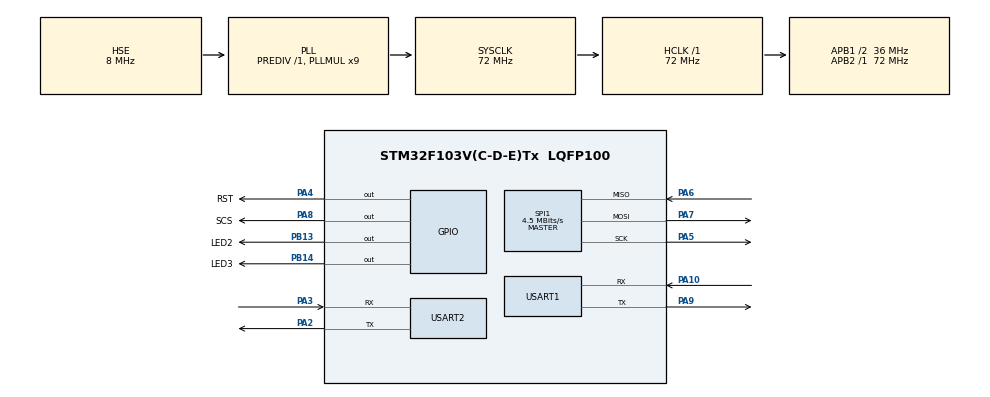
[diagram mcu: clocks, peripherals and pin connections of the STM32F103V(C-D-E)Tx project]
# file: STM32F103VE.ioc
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FREERTOS.Tasks01=defaultTask,0,128,StartDefaultTask,Default,NULL,Dynamic,NULL,NULL;myTaskLed,-3,128,StartTaskLed,Default,NULL,Dynamic,NULL,NULL
Mcu.Family=STM32F1
Mcu.Name=STM32F103V(C-D-E)Tx
Mcu.Package=LQFP100
NVIC.PriorityGroup=NVIC_PRIORITYGROUP_4
NVIC.TIM6_IRQn=true\:5\:0\:false\:false\:true\:true\:true\:true
NVIC.TIM7_IRQn=true\:5\:0\:false\:false\:true\:true\:true\:true
NVIC.USART1_IRQn=true\:5\:0\:false\:false\:true\:true\:true\:true
NVIC.USART2_IRQn=true\:5\:0\:false\:false\:true\:true\:true\:true
OSC_IN.Mode=HSE-External-Oscillator
OSC_IN.Signal=RCC_OSC_IN
OSC_OUT.Mode=HSE-External-Oscillator
OSC_OUT.Signal=RCC_OSC_OUT
PA10.Mode=Asynchronous
PA10.Signal=USART1_RX
PA13.Mode=Serial_Wire
PA13.Signal=SYS_JTMS-SWDIO
PA14.Mode=Serial_Wire
PA14.Signal=SYS_JTCK-SWCLK
PA2.Mode=Asynchronous
PA2.Signal=USART2_TX
PA3.Mode=Asynchronous
PA3.Signal=USART2_RX
PA4.GPIO_Label=RST
PA4.GPIO_PuPd=GPIO_NOPULL
PA4.GPIO_Speed=GPIO_SPEED_FREQ_HIGH
PA4.Signal=GPIO_Output
PA5.Mode=Full_Duplex_Master
PA5.Signal=SPI1_SCK
PA6.Mode=Full_Duplex_Master
PA6.Signal=SPI1_MISO
PA7.Mode=Full_Duplex_Master
PA7.Signal=SPI1_MOSI
PA8.GPIO_Label=SCS
PA8.GPIO_PuPd=GPIO_NOPULL
PA8.GPIO_Speed=GPIO_SPEED_FREQ_HIGH
PA8.Signal=GPIO_Output
PA9.Mode=Asynchronous
PA9.Signal=USART1_TX
PB13.GPIO_Label=LED2
PB13.Signal=GPIO_Output
PB14.GPIO_Label=LED3
PB14.Signal=GPIO_Output
ProjectManager.HeapSize=0x200
ProjectManager.StackSize=0x400
ProjectManager.TargetToolchain=STM32CubeIDE
RCC.AHBFreq_Value=72000000
RCC.APB1CLKDivider=RCC_HCLK_DIV2
RCC.APB1Freq_Value=36000000
RCC.APB1TimFreq_Value=72000000
RCC.APB2Freq_Value=72000000
RCC.APB2TimFreq_Value=72000000
RCC.HCLKFreq_Value=72000000
RCC.PLLMUL=RCC_PLL_MUL9
RCC.PLLSourceVirtual=RCC_PLLSOURCE_HSE
RCC.SYSCLKFreq_VALUE=72000000
RCC.SYSCLKSource=RCC_SYSCLKSOURCE_PLLCLK
RCC.USBFreq_Value=72000000
SPI1.BaudRatePrescaler=SPI_BAUDRATEPRESCALER_16
SPI1.CLKPhase=SPI_PHASE_2EDGE
SPI1.CLKPolarity=SPI_POLARITY_HIGH
SPI1.CRCCalculation=SPI_CRCCALCULATION_DISABLE
SPI1.CalculateBaudRate=4.5 MBits/s
SPI1.DataSize=SPI_DATASIZE_8BIT
SPI1.Direction=SPI_DIRECTION_2LINES
SPI1.FirstBit=SPI_FIRSTBIT_MSB
SPI1.Mode=SPI_MODE_MASTER
SPI1.VirtualType=VM_MASTER
TIM6.Period=1000
TIM6.Prescaler=6400-1
TIM7.Period=1000
TIM7.Prescaler=6400-1
USART1.VirtualMode=VM_ASYNC
USART2.VirtualMode=VM_ASYNC
VP_FREERTOS_VS_CMSIS_V1.Mode=CMSIS_V1
VP_TIM6_VS_ClockSourceINT.Mode=Enable_Timer
VP_TIM7_VS_ClockSourceINT.Mode=Enable_Timer
board=custom

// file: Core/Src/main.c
/* USER CODE BEGIN Header */
/**
  ******************************************************************************
  * @file           : main.c
  * @brief          : Main program body
  ******************************************************************************
  * @attention
  *
  * <h2><center>&copy; Copyright (c) 2020 STMicroelectronics.
  * All rights reserved.</center></h2>
  *
  * This software component is licensed by ST under BSD 3-Clause license,
  * the "License"; You may not use this file except in compliance with the
  * License. You may obtain a copy of the License at:
  *                        opensource.org/licenses/BSD-3-Clause
  *
  ******************************************************************************
  */
/* USER CODE END Header */

#include "main.h"
#include "cmsis_os.h"
#include "spi.h"
#include "tim.h"
#include "usart.h"
#include "gpio.h"

/* USER CODE BEGIN Includes */
#include "W5500.h"
/* USER CODE END Includes */

void SystemClock_Config(void);
void MX_FREERTOS_Init(void);

int main(void)
{
  /* USER CODE BEGIN 1 */
//  int age;
//  char *name;
  /* USER CODE END 1 */

  /* MCU Configuration--------------------------------------------------------*/

  /* Reset of all peripherals, Initializes the Flash interface and the Systick. */
  HAL_Init();

  /* Configure the system clock */
  SystemClock_Config();

  /* Initialize all configured peripherals */
  MX_GPIO_Init();
  MX_TIM7_Init();
  MX_USART1_UART_Init();
  MX_TIM6_Init();
  MX_USART2_UART_Init();
  MX_SPI1_Init();
  /* USER CODE BEGIN 2 */

  __HAL_TIM_SET_COUNTER(&htim7,0);
  HAL_TIM_Base_Start_IT(&htim7);//启动定时�????????
  __HAL_TIM_SET_COUNTER(&htim6,0);
  HAL_TIM_Base_Start_IT(&htim6);//启动定时�????????

  if(HAL_UART_Receive_IT(&huart1, (uint8_t *)&aRxBuffer, 1) != HAL_OK)//接收数据�????????1个才发生中断
  {
    Error_Handler();
  }

  if(HAL_UART_Receive_IT(&huart2, (uint8_t *)&aRx2Buffer, 1) != HAL_OK)//接收数据�????????1个才发生中断
  {
    Error_Handler();
  }

  USART_printf(&huart1,"%s is %d years old\r\n","Li Ming",15);
  USART_printf(&huart2,"%s is %d years old\r\n","Wang Fei",16);

  /* USER CODE END 2 */

  /* Call init function for freertos objects (in freertos.c) */
  MX_FREERTOS_Init();

  /* Start scheduler */
  osKernelStart();

  /* We should never get here as control is now taken by the scheduler */

  /* Infinite loop */
  while (1)
  {

  }
}

void SystemClock_Config(void)
{
  RCC_OscInitTypeDef RCC_OscInitStruct = {0};
  RCC_ClkInitTypeDef RCC_ClkInitStruct = {0};

  /** Initializes the CPU, AHB and APB busses clocks
  */
  RCC_OscInitStruct.OscillatorType = RCC_OSCILLATORTYPE_HSE;
  RCC_OscInitStruct.HSEState = RCC_HSE_ON;
  RCC_OscInitStruct.HSEPredivValue = RCC_HSE_PREDIV_DIV1;
  RCC_OscInitStruct.HSIState = RCC_HSI_ON;
  RCC_OscInitStruct.PLL.PLLState = RCC_PLL_ON;
  RCC_OscInitStruct.PLL.PLLSource = RCC_PLLSOURCE_HSE;
  RCC_OscInitStruct.PLL.PLLMUL = RCC_PLL_MUL9;
  if (HAL_RCC_OscConfig(&RCC_OscInitStruct) != HAL_OK)
  {
    Error_Handler();
  }
  /** Initializes the CPU, AHB and APB busses clocks
  */
  RCC_ClkInitStruct.ClockType = RCC_CLOCKTYPE_HCLK|RCC_CLOCKTYPE_SYSCLK
                              |RCC_CLOCKTYPE_PCLK1|RCC_CLOCKTYPE_PCLK2;
  RCC_ClkInitStruct.SYSCLKSource = RCC_SYSCLKSOURCE_PLLCLK;
  RCC_ClkInitStruct.AHBCLKDivider = RCC_SYSCLK_DIV1;
  RCC_ClkInitStruct.APB1CLKDivider = RCC_HCLK_DIV2;
  RCC_ClkInitStruct.APB2CLKDivider = RCC_HCLK_DIV1;

  if (HAL_RCC_ClockConfig(&RCC_ClkInitStruct, FLASH_LATENCY_2) != HAL_OK)
  {
    Error_Handler();
  }
}

void Error_Handler(void)
{
}

/************************ (C) COPYRIGHT STMicroelectronics *****END OF FILE****/

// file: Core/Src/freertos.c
/* USER CODE BEGIN Header */
/**
  ******************************************************************************
  * File Name          : freertos.c
  * Description        : Code for freertos applications
  ******************************************************************************
  * @attention
  *
  * <h2><center>&copy; Copyright (c) 2020 STMicroelectronics.
  * All rights reserved.</center></h2>
  *
  * This software component is licensed by ST under Ultimate Liberty license
  * SLA0044, the "License"; You may not use this file except in compliance with
  * the License. You may obtain a copy of the License at:
  *                             www.st.com/SLA0044
  *
  ******************************************************************************
  */
/* USER CODE END Header */

#include "FreeRTOS.h"
#include "task.h"
#include "main.h"
#include "cmsis_os.h"

/* USER CODE BEGIN Includes */
#include "usart.h"
#include "w5500_conf.h"
#include "w5500.h"
#include "tcp_demo.h"
#include <string.h>
/* USER CODE END Includes */

osThreadId defaultTaskHandle;
osThreadId myTaskLedHandle;

/* USER CODE BEGIN FunctionPrototypes */

uint8_t ConnectTcpServer();

/* USER CODE END FunctionPrototypes */

void StartDefaultTask(void const * argument);
void StartTaskLed(void const * argument);

void MX_FREERTOS_Init(void); /* (MISRA C 2004 rule 8.1) */

/* GetIdleTaskMemory prototype (linked to static allocation support) */
void vApplicationGetIdleTaskMemory( StaticTask_t **ppxIdleTaskTCBBuffer, StackType_t **ppxIdleTaskStackBuffer, uint32_t *pulIdleTaskStackSize );

/* USER CODE BEGIN GET_IDLE_TASK_MEMORY */
static StaticTask_t xIdleTaskTCBBuffer;
static StackType_t xIdleStack[configMINIMAL_STACK_SIZE];

void vApplicationGetIdleTaskMemory( StaticTask_t **ppxIdleTaskTCBBuffer, StackType_t **ppxIdleTaskStackBuffer, uint32_t *pulIdleTaskStackSize )
{
  *ppxIdleTaskTCBBuffer = &xIdleTaskTCBBuffer;
  *ppxIdleTaskStackBuffer = &xIdleStack[0];
  *pulIdleTaskStackSize = configMINIMAL_STACK_SIZE;
  /* place for user code */
}
/* USER CODE END GET_IDLE_TASK_MEMORY */

void MX_FREERTOS_Init(void) {

  /* Create the thread(s) */
  /* definition and creation of defaultTask */
  osThreadDef(defaultTask, StartDefaultTask, osPriorityNormal, 0, 128);
  defaultTaskHandle = osThreadCreate(osThread(defaultTask), NULL);

  /* definition and creation of myTaskLed */
  osThreadDef(myTaskLed, StartTaskLed, osPriorityIdle, 0, 128);
  myTaskLedHandle = osThreadCreate(osThread(myTaskLed), NULL);

}

void StartDefaultTask(void const * argument)
{
  /* USER CODE BEGIN StartDefaultTask */

	reset_w5500();											/*硬复位W5500*/
	set_w5500_mac();										/*配置MAC地址*/
	set_w5500_ip();											/*配置IP地址*/
//
	socket_buf_init(txsize, rxsize);		/*初始�??8个Socket的发送接收缓存大�??*/
  /* Infinite loop */
	for(;;)
	{
		do_tcp_client();                  /*TCP_Client 数据回环测试程序*/
		osDelay(10);
	}

  /* USER CODE END StartDefaultTask */
}

void StartTaskLed(void const * argument)
{
  /* USER CODE BEGIN StartTaskLed */
  /* Infinite loop */
  for(;;)
  {
//		HAL_Delay(500);
		osDelay(500);
		HAL_GPIO_TogglePin(GPIOB,LED2_Pin|LED3_Pin);
  }
  /* USER CODE END StartTaskLed */
}

/* USER CODE BEGIN Application */

// 连接TCP服务器函�??????????
// 返回�?????????? 1：连接失败，0：连接成�??????????
 uint8_t ConnectTcpServer()
 {
	 uint8_t count = 0;
	  bWiFiResponse = False;
	  count = 0;
	  USART_SendString(&huart2,"AT+CIPSTART=\"TCP\",\"192.168.2.155\",8080\r\n");//连接TCP服务�??????????
	  while(bWiFiResponse == False)
	  {
		  count++;
		  if(count >= 5)
		  {
			  USART_SendString(&huart1,"connect TCP server time out!!!\r\n");
			  return 1;
		  }
		  osDelay(2000);
		  USART_SendString(&huart2,"AT+CIPSTART=\"TCP\",\"192.168.2.155\",8080\r\n");//重发连接TCP服务器命�??????????
	  }

	  bWiFiResponse = False;
	  count = 0;
	  USART_SendString(&huart2,"AT+CIPMODE=1\r\n");//�??????????启�?�传模式
	  while(bWiFiResponse == False)
	  {
		  count++;
		  if(count >= 5)
		  {
			  USART_SendString(&huart1,"Open the passthrough time out!!!\r\n");
			  return 1;;
		  }
		  osDelay(2000);
		  USART_SendString(&huart2,"AT+CIPMODE=1\r\n");// 重发�??????????启�?�传模式
	  }

	  bWiFiResponse = False;
	  count = 0;
	  USART_SendString(&huart2,"AT+CIPSEND\r\n");//�??????????始传�??????????
	  while(bWiFiResponse == False)
	  {
		  count++;
		  if(count >= 5)
		  {
			  USART_SendString(&huart1,"Began to transport time out!!!\r\n");
			  return 1;;
		  }
		  osDelay(2000);
		  USART_SendString(&huart2,"AT+CIPSEND\r\n");//重发�??????????始传输命�??????????

	  }
	  return 0;
 }
/* USER CODE END Application */

/************************ (C) COPYRIGHT STMicroelectronics *****END OF FILE****/
